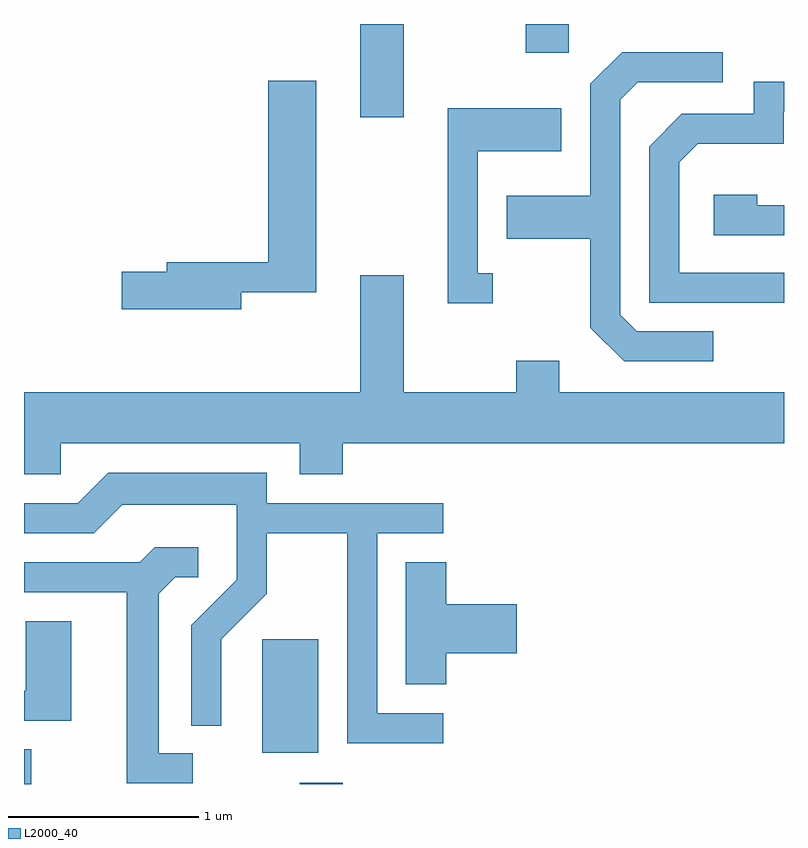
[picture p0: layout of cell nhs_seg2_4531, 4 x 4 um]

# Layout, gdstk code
import gdstk
lib = gdstk.Library(unit=1e-6, precision=1e-09)
def R(c, l, rs):  # rectangles x0, y0, x1, y1
    for r in rs: c.add(gdstk.rectangle(r[:2], r[2:], *l))
def P(c, l, *ps):  # polygons
    for p in ps: c.add(gdstk.Polygon(p, *l))
L2000_40 = (2000, 40)

nhs_seg2_4531 = lib.new_cell('nhs_seg2_4531')
R(nhs_seg2_4531, L2000_40, [(317.611,1099.802,317.649,1099.984), (319.061,1099.802,319.289,1099.809), (318.866,1099.966,319.159,1100.564), (319.381,1103.311,319.609,1103.802), (320.251,1103.651,320.479,1103.802)])
P(nhs_seg2_4531, L2000_40, [(321.238,1102.184),(320.837,1102.184),(320.749,1102.272),(320.749,1103.404),(320.842,1103.496),(321.288,1103.496),(321.288,1103.654),(320.759,1103.654),(320.591,1103.487),(320.591,1102.899),(320.151,1102.899),(320.151,1102.671),(320.591,1102.671),(320.591,1102.204),(320.769,1102.026),(321.238,1102.026)],
  [(318.754,1102.391),(319.149,1102.391),(319.149,1103.504),(318.896,1103.504),(318.896,1102.549),(318.361,1102.549),(318.361,1102.499),(318.126,1102.499),(318.126,1102.301),(318.754,1102.301)],
  [(321.611,1102.494),(321.059,1102.494),(321.059,1103.074),(321.157,1103.171),(321.609,1103.171),(321.609,1103.341),(321.611,1103.341),(321.611,1103.499),(321.451,1103.499),(321.451,1103.329),(321.074,1103.329),(320.901,1103.157),(320.901,1102.336),(321.611,1102.336)],
  [(320.078,1102.489),(319.999,1102.489),(319.999,1103.131),(320.439,1103.131),(320.439,1103.359),(319.841,1103.359),(319.841,1102.331),(320.078,1102.331)],
  [(321.611,1102.849),(321.469,1102.849),(321.469,1102.904),(321.241,1102.904),(321.241,1102.691),(321.611,1102.691)],
  [(317.804,1101.596),(319.061,1101.596),(319.061,1101.431),(319.289,1101.431),(319.289,1101.596),(321.611,1101.596),(321.611,1101.864),(320.429,1101.864),(320.429,1102.029),(320.201,1102.029),(320.201,1101.864),(319.609,1101.864),(319.609,1102.479),(319.381,1102.479),(319.381,1101.864),(317.611,1101.864),(317.611,1101.431),(317.804,1101.431)],
  [(319.818,1100.174),(319.469,1100.174),(319.469,1101.121),(319.818,1101.121),(319.818,1101.279),(318.889,1101.279),(318.889,1101.439),(318.054,1101.439),(317.894,1101.279),(317.611,1101.279),(317.611,1101.121),(317.977,1101.121),(318.127,1101.271),(318.731,1101.271),(318.731,1100.877),(318.491,1100.637),(318.491,1100.108),(318.649,1100.108),(318.649,1100.564),(318.889,1100.804),(318.889,1101.121),(319.311,1101.121),(319.311,1100.016),(319.818,1100.016)],
  [(318.498,1099.964),(318.319,1099.964),(318.319,1100.804),(318.407,1100.891),(318.528,1100.891),(318.528,1101.049),(318.299,1101.049),(318.219,1100.969),(317.611,1100.969),(317.611,1100.811),(318.151,1100.811),(318.151,1099.806),(318.498,1099.806)],
  [(319.834,1100.491),(320.204,1100.491),(320.204,1100.749),(319.834,1100.749),(319.834,1100.969),(319.621,1100.969),(319.621,1100.326),(319.834,1100.326)],
  [(317.859,1100.659),(317.621,1100.659),(317.621,1100.294),(317.611,1100.294),(317.611,1100.136),(317.859,1100.136)])

lib.write_gds('nhs_seg2_4531.gds')
